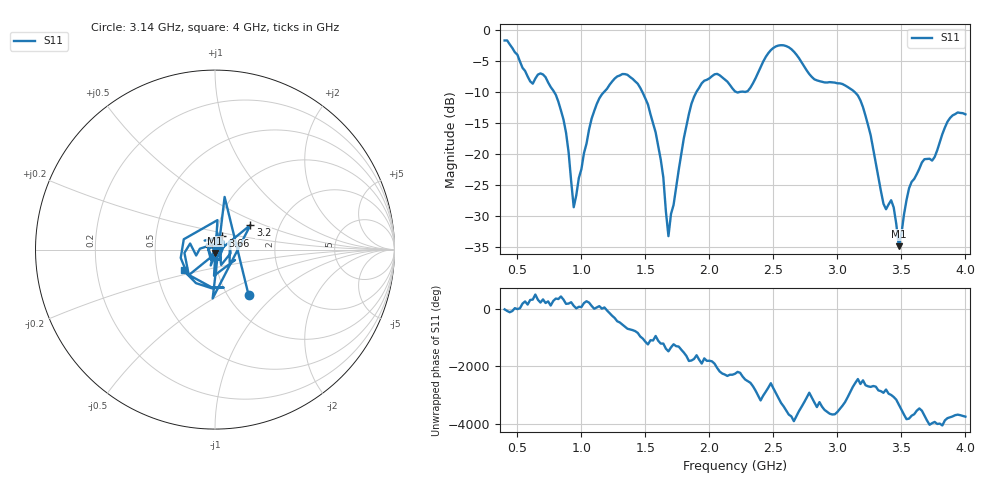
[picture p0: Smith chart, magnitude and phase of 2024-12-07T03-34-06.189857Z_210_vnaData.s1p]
!Created with skrf (http://scikit-rf.org).
# Hz S RI R 50.0
!freq ReS11 ImS11
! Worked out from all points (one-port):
!   181 points, 400 MHz to 4 GHz, reference 50 ohm
!   lowest |S11| = -34.8 dB at 3.48 GHz (marker M1), VSWR 1.04, Z = 50 - j1.82 ohm
!   |S11| at or under -10 dB: 788.6 MHz to 1.174 GHz (385.5 MHz wide, 39.3 % of centre); 1.478 GHz to 1.897 GHz (419.6 MHz wide, 24.9 % of centre); 3.138 GHz to end of sweep (the widest 3 of 4)
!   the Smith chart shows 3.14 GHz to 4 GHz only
!   S11 on the Smith chart (normalised r, x): 3.14 GHz: 1.24, -0.70; 3.2 GHz: 1.42, +0.41; 3.66 GHz: 1.07, +0.16; 4 GHz: 0.69, -0.17
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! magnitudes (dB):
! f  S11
! 400 MHz  -1.6
! 600 MHz  -8.2
! 720 MHz  -7.6
! 860 MHz  -14.4
! 940 MHz  -28.5
! 1.1 GHz  -13.0
! 1.3 GHz  -7.3
! 1.52 GHz  -12.0
! 1.62 GHz  -20.9
! 1.68 GHz  -33.2
! 1.76 GHz  -22.5
! 1.86 GHz  -11.8
! 1.94 GHz  -8.5
! 2.2 GHz  -9.8
! 2.3 GHz  -9.8
! 2.5 GHz  -2.8
! 2.66 GHz  -3.4
! 2.82 GHz  -7.9
! 3.1 GHz  -9.4
! 3.14 GHz  -10.0
! 3.2 GHz  -12.4
! 3.36 GHz  -28.0
! 3.44 GHz  -28.6
! 3.48 GHz  -34.8
! 3.56 GHz  -25.5
! 3.66 GHz  -21.3
! 3.88 GHz  -14.1
! 4 GHz  -13.5
